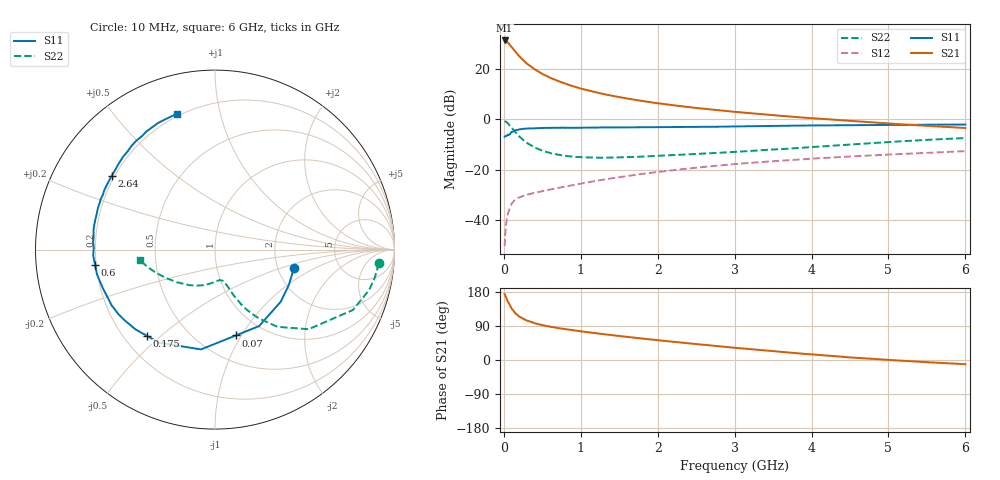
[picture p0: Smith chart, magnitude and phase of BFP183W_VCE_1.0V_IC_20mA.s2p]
! Infineon Technologies  Discrete & RF Semiconductors
! BFP183W
! VCE = 1.0 V,  IC =  20 mA
! Common Emitter S-Parameters:  Jan 2016
# GHz  S  MA  R  50
!  f  S11  S21  S12  S22
! GHz  MAG  ANG  MAG  ANG  MAG  ANG  MAG  ANG
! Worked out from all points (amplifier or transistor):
!   210 points, 10 MHz to 6 GHz, reference 50 ohm
!   highest |S21| = 31.3 dB at 10 MHz (marker M1)
!   |S21| within 3 dB of that: start of sweep to 112.1 MHz
!   unconditionally stable (mu >= 1): 642.4 MHz to end of sweep
!   at 185 MHz: K = 0.42, MSG = 28.4 dB, |S12| = -31.3 dB
!   at 1.52 GHz: K = 1.32, MAG = 12.4 dB, |S12| = -22.9 dB
!   at 6 GHz: K = 1.06, MAG = 3.1 dB, |S12| = -12.7 dB
!   S11 on the Smith chart (normalised r, x): 10 MHz: 2.45, -0.64; 70 MHz: 0.75, -0.95; 175 MHz: 0.29, -0.45; 600 MHz: 0.20, -0.06; 2.64 GHz: 0.19, +0.31; 6 GHz: 0.19, +0.74
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0.01  0.4521 -13.2  36.81 174.0  0.003 87.3  0.916 -4.8
0.02  0.4562 -25.7  36.56 169.4  0.0057 77.6  0.9038 -9.9
0.03  0.4674 -38.4  36.01 164.3  0.0084 77.9  0.8877 -14.7
0.05  0.4921 -60.0  33.86 154.4  0.0128 68.2  0.8385 -23.7
0.07  0.4921 -76.3  30.95 147.9  0.0159 61.3  0.7694 -29.6
0.1  0.5616 -98.0  27.51 135.8  0.0208 54.9  0.6845 -40.4
0.15  0.6054 -121.1  21.96 123.0  0.0256 46.3  0.5527 -51.1
0.175  0.612 -128.3  19.85 119.2  0.0268 44.4  0.5035 -53.9
0.2  0.628 -135.2  17.84 114.5  0.028 42.7  0.4558 -57.4
0.24  0.641 -142.8  15.53 109.8  0.0295 40.8  0.4011 -60.7
0.3  0.6544 -151.6  12.73 103.9  0.0316 40.0  0.3384 -64.4
0.4  0.6611 -161.3  9.814 97.0  0.0344 40.5  0.2744 -67.9
0.6  0.6731 -172.9  6.692 87.8  0.04 44.3  0.2125 -71.3
0.8  0.6796 -177.2  5.07 81.2  0.0461 48.1  0.1868 -74.3
1.02  0.68 175.9  3.998 75.2  0.0532 50.7  0.1757 -77.5
1.44  0.6873 165.5  2.864 64.8  0.0684 53.6  0.1739 -84.7
2.02  0.6951 153.9  2.061 51.9  0.0903 53.9  0.1876 -95.9
2.64  0.7074 144.5  1.592 39.3  0.1143 51.8  0.2094 -108.7
3.1  0.7228 136.6  1.361 30.5  0.132 49.3  0.2291 -119.3
4.1  0.7538 122.1  1.024 13.3  0.168 42.8  0.2864 -141.9
5.1  0.7742 113.3  0.804 -1.0  0.2018 36.0  0.3599 -160.1
6  0.7854 105.7  0.669 -11.1  0.2321 30.0  0.423 -172.1
